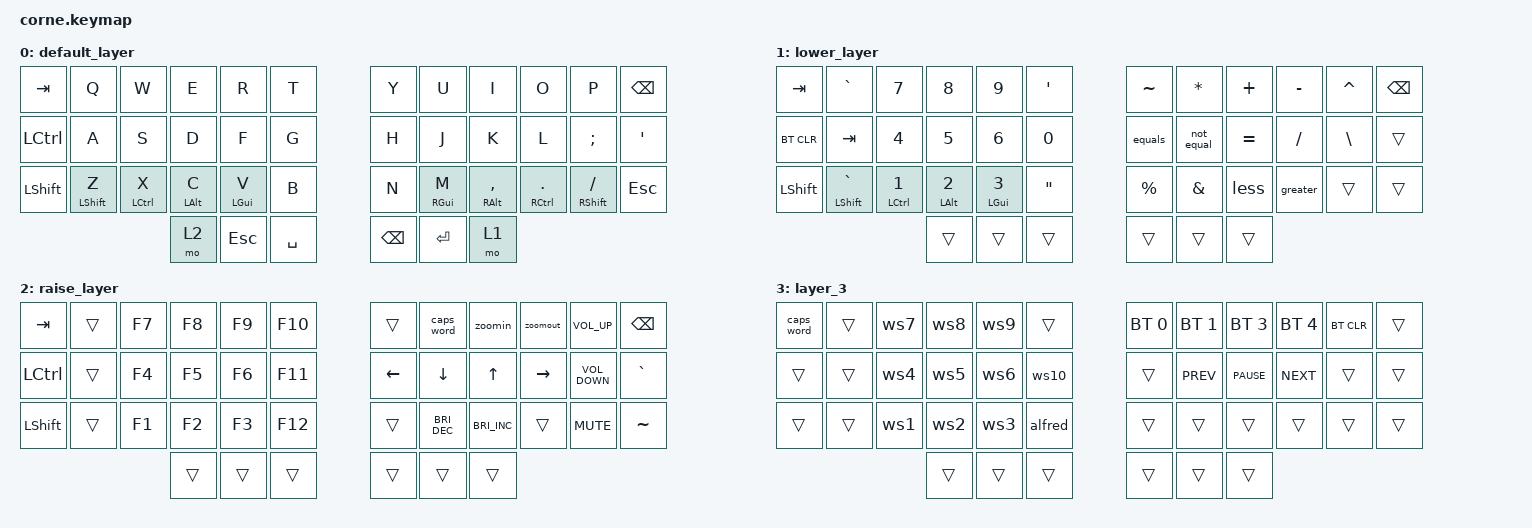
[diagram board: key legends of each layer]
/*
 * Copyright (c) 2020 The ZMK Contributors
 *
 * SPDX-License-Identifier: MIT
 */

#include <behaviors.dtsi>
#include <dt-bindings/zmk/bt.h>
#include <dt-bindings/zmk/keys.h>

/ {
    behaviors {
        hm: hm {
            compatible = "zmk,behavior-hold-tap";
            label = "HM";
            bindings = <&kp>, <&kp>;

            #binding-cells = <2>;
            tapping-term-ms = <180>;
            hold-trigger-key-positions = <0 1 2 3 4 5 6 7 8 9 10 11 12 13 14 15 16 17 18 19 20 21 22 23 24 25 26 27 28 29 30 31 32 33 34 35 36 37 38 39 40 41>;
            flavor = "tap-preferred";
        };
    };

    macros {
        ws1: ws1 {
            compatible = "zmk,behavior-macro";
            #binding-cells = <0>;
            bindings = <&kp LG(NUMBER_1)>, <&macro_press>;

            label = "WS1";
            tap-ms = <0>;
        };

        ws2: ws2 {
            compatible = "zmk,behavior-macro";
            #binding-cells = <0>;
            bindings = <&kp LG(NUMBER_2)>, <&macro_press>;

            label = "WS2";
        };

        ws3: ws3 {
            compatible = "zmk,behavior-macro";
            #binding-cells = <0>;
            bindings = <&kp LG(NUMBER_3)>, <&macro_press>;

            label = "WS3";
        };

        ws4: ws4 {
            compatible = "zmk,behavior-macro";
            #binding-cells = <0>;
            bindings = <&kp LG(NUMBER_4)>, <&macro_press>;

            label = "WS4";
        };

        ws5: ws5 {
            compatible = "zmk,behavior-macro";
            #binding-cells = <0>;
            bindings = <&kp LG(N5)>, <&macro_press>;

            label = "WS5";
        };

        ws7: ws7 {
            compatible = "zmk,behavior-macro";
            #binding-cells = <0>;
            bindings = <&kp LG(N7)>, <&macro_press>;

            label = "WS7";
        };

        ws8: ws8 {
            compatible = "zmk,behavior-macro";
            #binding-cells = <0>;
            bindings = <&kp LG(N8)>, <&macro_press>;

            label = "WS8";
        };

        ws9: ws9 {
            compatible = "zmk,behavior-macro";
            #binding-cells = <0>;
            bindings = <&kp LG(N9)>, <&macro_press>;

            label = "WS9";
        };

        ws10: ws10 {
            compatible = "zmk,behavior-macro";
            #binding-cells = <0>;
            bindings = <&kp LG(N0)>, <&macro_press>;

            label = "WS10";
        };

        alfred: alfred {
            compatible = "zmk,behavior-macro";
            #binding-cells = <0>;
            bindings = <&kp LG(SPACE)>, <&macro_press>;

            label = "ALFRED";
        };

        ws6: ws6 {
            compatible = "zmk,behavior-macro";
            #binding-cells = <0>;
            bindings = <&kp LG(NUMBER_6)>, <&macro_press>;

            label = "WS6";
        };

        parenthesis: parenthesis {
            compatible = "zmk,behavior-macro";
            #binding-cells = <0>;
            bindings = <&kp LEFT_PARENTHESIS &kp RIGHT_PARENTHESIS>;
            label = "PARENTHESIS";
        };

        equals: equals {
            compatible = "zmk,behavior-macro";
            #binding-cells = <0>;
            bindings = <&kp EQUAL &kp EQUAL>;
            label = "EQUALS";
        };

        not_equal: not_equal {
            compatible = "zmk,behavior-macro";
            #binding-cells = <0>;
            bindings = <&kp EXCLAMATION &kp EQUAL>;
            label = "NOT_EQUAL";
        };

        less: less {
            compatible = "zmk,behavior-macro";
            #binding-cells = <0>;
            bindings = <&kp LESS_THAN &kp EQUAL>;
            label = "LESS";
        };

        greater: greater {
            compatible = "zmk,behavior-macro";
            #binding-cells = <0>;
            bindings = <&kp GREATER_THAN &kp EQUAL>;
            label = "GREATER";
        };

        bracket: bracket {
            compatible = "zmk,behavior-macro";
            #binding-cells = <0>;
            bindings = <&kp LEFT_BRACKET &kp RIGHT_BRACKET>;
            label = "BRACKET";
        };

        brace: brace {
            compatible = "zmk,behavior-macro";
            #binding-cells = <0>;
            bindings = <&kp LEFT_BRACE &kp RIGHT_BRACE>;
            label = "BRACE";
        };

        zoomin: zoomin {
            compatible = "zmk,behavior-macro";
            #binding-cells = <0>;
            bindings = <&kp RG(PLUS)>;
            label = "ZOOMIN";
        };

        zoomout: zoomout {
            compatible = "zmk,behavior-macro";
            #binding-cells = <0>;
            bindings = <&kp RG(MINUS)>;
            label = "ZOOMOUT";
        };
    };

    combos {
        compatible = "zmk,combos";

        parenthesis {
            bindings = <&kp LEFT_PARENTHESIS>;
            key-positions = <6 7>;
            layers = <0>;
        };

        brackets {
            bindings = <&kp LEFT_BRACKET>;
            key-positions = <18 19>;
        };

        braces {
            bindings = <&kp LEFT_BRACE>;
            key-positions = <30 31>;
        };

        rparen {
            bindings = <&kp RIGHT_PARENTHESIS>;
            key-positions = <7 8>;
        };

        rbrack {
            bindings = <&kp RIGHT_BRACKET>;
            key-positions = <19 20>;
        };

        rbrace {
            bindings = <&kp RIGHT_BRACE>;
            key-positions = <31 32>;
        };

        underscore {
            bindings = <&kp UNDERSCORE>;
            key-positions = <16 17>;
        };

        ocpar {
            bindings = <&parenthesis>;
            key-positions = <6 7 8>;
        };

        ocbra {
            bindings = <&bracket>;
            key-positions = <18 19 20>;
        };

        ocbraces {
            bindings = <&brace>;
            key-positions = <32 31 30>;
        };

        excl {
            bindings = <&kp HASH>;
            key-positions = <28 29>;
        };

        atsign {
            bindings = <&kp AT_SIGN>;
            key-positions = <28 27>;
        };

        pound {
            bindings = <&kp EXCLAMATION>;
            key-positions = <26 27>;
        };
    };

    keymap {
        compatible = "zmk,keymap";

        default_layer {
            // -----------------------------------------------------------------------------------------
            // |  TAB |  Q  |  W  |  E  |  R  |  T  |   |  Y  |  U   |  I  |  O  |  P  | BKSP |
            // | CTRL |  A  |  S  |  D  |  F  |  G  |   |  H  |  J   |  K  |  L  |  ;  |  '   |
            // | SHFT |  Z  |  X  |  C  |  V  |  B  |   |  N  |  M   |  ,  |  .  |  /  | ESC  |
            //                    | GUI | LWR | SPC |   | ENT | RSE  | ALT |

            bindings = <
&kp TAB    &kp Q             &kp W        &kp E       &kp R           &kp T        &kp Y          &kp U            &kp I           &kp O             &kp P            &kp BSPC
&kp LCTRL  &kp A             &kp S        &kp D       &kp F           &kp G        &kp H          &kp J            &kp K           &kp L             &kp SEMI         &kp SQT
&kp LSHFT  &hm LEFT_SHIFT Z  &hm LCTRL X  &hm LALT C  &hm LEFT_GUI V  &kp B        &kp N          &hm RIGHT_GUI M  &hm RALT COMMA  &hm RCTRL PERIOD  &hm RSHFT SLASH  &kp ESC
                                          &mo 2       &kp ESCAPE      &kp SPACE    &kp BACKSPACE  &kp ENTER        &mo 1
            >;
        };

        lower_layer {
            // -----------------------------------------------------------------------------------------
            // |  TAB |  1  |  2  |  3  |  4  |  5  |   |  6  |  7  |  8  |  9  |  0  | BKSP |
            // | BTCLR| BT1 | BT2 | BT3 | BT4 | BT5 |   | LFT | DWN |  UP | RGT |     |      |
            // | SHFT |     |     |     |     |     |   |     |     |     |     |     |      |
            //                    | GUI |     | SPC |   | ENT |     | ALT |

            bindings = <
&kp TAB     &kp GRAVE             &kp N7              &kp N8             &kp N9                 &kp SQT              &kp TILDE    &kp ASTERISK  &kp PLUS   &kp MINUS  &kp CARET      &kp BSPC
&bt BT_CLR  &kp TAB               &kp N4              &kp N5             &kp N6                 &kp N0               &equals      &not_equal    &kp EQUAL  &kp SLASH  &kp BACKSLASH  &trans
&kp LSHFT   &hm LEFT_SHIFT GRAVE  &hm LCTRL NUMBER_1  &hm LALT NUMBER_2  &hm LEFT_GUI NUMBER_3  &kp DOUBLE_QUOTES    &kp PERCENT  &kp AMPS      &less      &greater   &trans         &trans
                                                      &trans             &trans                 &trans               &trans       &trans        &trans
            >;
        };

        raise_layer {
            // -----------------------------------------------------------------------------------------
            // |  TAB |  !  |  @  |  #  |  $  |  %  |   |  ^  |  &  |  *  |  (  |  )  | BKSP |
            // | CTRL |     |     |     |     |     |   |  -  |  =  |  [  |  ]  |  \  |  `   |
            // | SHFT |     |     |     |     |     |   |  _  |  +  |  {  |  }  | "|" |  ~   |
            //                    | GUI |     | SPC |   | ENT |     | ALT |

            bindings = <
&kp TAB    &trans  &kp F7  &kp F8  &kp F9  &kp F10    &trans    &caps_word            &zoomin               &zoomout   &kp C_VOLUME_UP    &kp BSPC
&kp LCTRL  &trans  &kp F4  &kp F5  &kp F6  &kp F11    &kp LEFT  &kp DOWN              &kp UP_ARROW          &kp RIGHT  &kp C_VOLUME_DOWN  &kp GRAVE
&kp LSHFT  &trans  &kp F1  &kp F2  &kp F3  &kp F12    &trans    &kp C_BRIGHTNESS_DEC  &kp C_BRIGHTNESS_INC  &trans     &kp C_MUTE         &kp TILDE
                           &trans  &trans  &trans     &trans    &trans                &trans
            >;
        };

        layer_3 {
            bindings = <
&caps_word  &trans  &ws7  &ws8    &ws9    &trans     &bt BT_SEL 0  &bt BT_SEL 1  &bt BT_SEL 3  &bt BT_SEL 4  &bt BT_CLR  &trans
&trans      &trans  &ws4  &ws5    &ws6    &ws10      &trans        &kp C_PREV    &kp C_PAUSE   &kp C_NEXT    &trans      &trans
&trans      &trans  &ws1  &ws2    &ws3    &alfred    &trans        &trans        &trans        &trans        &trans      &trans
                          &trans  &trans  &trans     &trans        &trans        &trans
            >;
        };
    };

    conditional_layers {
        compatible = "zmk,conditional-layers";

        layer3 {
            if-layers = <1 2>;
            then-layer = <3>;
        };
    };
};
